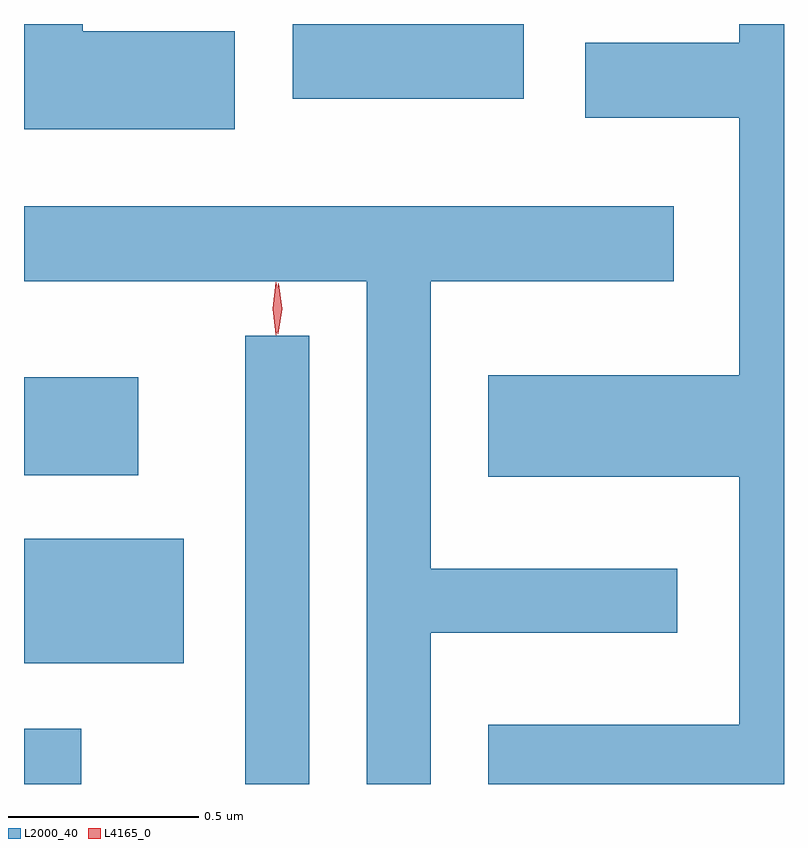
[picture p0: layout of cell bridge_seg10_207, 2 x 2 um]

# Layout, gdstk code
import gdstk
lib = gdstk.Library(unit=1e-6, precision=1e-09)
def R(c, l, rs):  # rectangles x0, y0, x1, y1
    for r in rs: c.add(gdstk.rectangle(r[:2], r[2:], *l))
def P(c, l, *ps):  # polygons
    for p in ps: c.add(gdstk.Polygon(p, *l))
L2000_40 = (2000, 40)
L4165_0 = (4165, 0)

bridge_seg10_207 = lib.new_cell('bridge_seg10_207')
R(bridge_seg10_207, L2000_40, [(1863.689,2140.993,1863.839,2141.139), (1864.271,2140.993,1864.439,2142.173), (1863.689,2141.311,1864.109,2141.639), (1863.689,2141.806,1863.989,2142.064), (1864.396,2142.796,1865.004,2142.993)])
P(bridge_seg10_207, L2000_40, [(1864.244,2142.974),(1863.844,2142.974),(1863.844,2142.993),(1863.689,2142.993),(1863.689,2142.716),(1864.244,2142.716)],
  [(1864.911,2142.069),(1864.911,2141.801),(1865.571,2141.801),(1865.571,2141.149),(1864.911,2141.149),(1864.911,2140.993),(1865.689,2140.993),(1865.689,2142.993),(1865.571,2142.993),(1865.571,2142.944),(1865.166,2142.944),(1865.166,2142.746),(1865.571,2142.746),(1865.571,2142.069)],
  [(1864.759,2141.391),(1865.408,2141.391),(1865.408,2141.559),(1864.759,2141.559),(1864.759,2142.316),(1865.399,2142.316),(1865.399,2142.514),(1863.689,2142.514),(1863.689,2142.316),(1864.591,2142.316),(1864.591,2140.993),(1864.759,2140.993)])
P(bridge_seg10_207, L4165_0, [(1864.353,2142.174),(1864.352,2142.175),(1864.343,2142.244),(1864.352,2142.313),(1864.353,2142.314),(1864.353,2142.313),(1864.363,2142.244),(1864.353,2142.175)],
  [(1864.357,2142.178),(1864.348,2142.244),(1864.358,2142.31),(1864.358,2142.311),(1864.359,2142.31),(1864.368,2142.244),(1864.358,2142.178),(1864.358,2142.178)])

lib.write_gds('bridge_seg10_207.gds')
